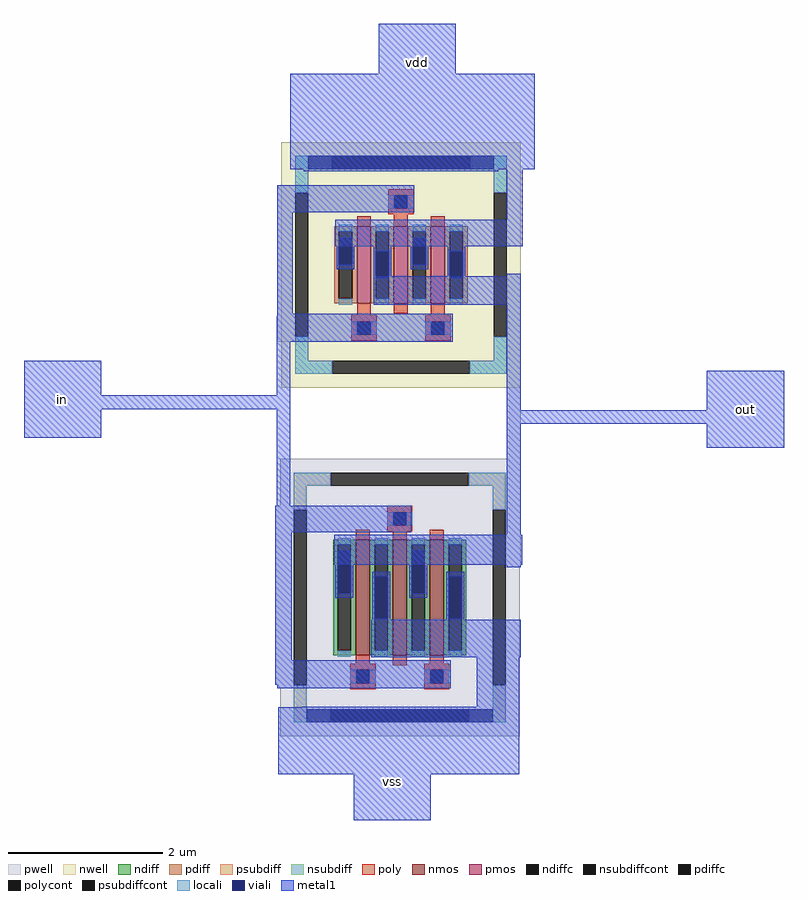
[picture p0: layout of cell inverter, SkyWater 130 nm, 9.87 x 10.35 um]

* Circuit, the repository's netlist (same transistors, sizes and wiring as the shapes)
.subckt inverter in vss vdd out
*.PININFO in:I vss:B vdd:B out:O
XM1 out in vss vss sky130_fd_pr__nfet_01v8 L=0.18 W=4.5 nf=3 ad='int((nf+1)/2) * W/nf * 0.29' as='int((nf+2)/2) * W/nf * 0.29'
+ pd='2*int((nf+1)/2) * (W/nf + 0.29)' ps='2*int((nf+2)/2) * (W/nf + 0.29)' nrd='0.29 / W' nrs='0.29 / W'
+ sa=0 sb=0 sd=0 mult=1 m=1 
XM2 out in vdd vdd sky130_fd_pr__pfet_01v8 L=0.18 W=3 nf=3 ad='int((nf+1)/2) * W/nf * 0.29' as='int((nf+2)/2) * W/nf * 0.29'
+ pd='2*int((nf+1)/2) * (W/nf + 0.29)' ps='2*int((nf+2)/2) * (W/nf + 0.29)' nrd='0.29 / W' nrs='0.29 / W'
+ sa=0 sb=0 sd=0 mult=1 m=1 
.ends
** flattened .save nodes
.end

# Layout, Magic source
magic
tech sky130A
magscale 1 2
<< pwell >>
rect -60 1908 296 1978
rect -60 1644 -20 1908
rect -60 1574 396 1644
rect -58 1572 396 1574
rect -66 1076 288 1146
rect -66 744 -22 1076
rect 536 986 572 1748
rect -66 680 390 744
rect -60 672 390 680
<< metal1 >>
rect 204 2268 404 2398
rect -26 2020 608 2268
rect -60 1908 296 1978
rect -60 1644 -20 1908
rect 536 1888 578 2020
rect 90 1820 578 1888
rect 536 1742 572 1748
rect 190 1668 572 1742
rect -60 1638 396 1644
rect -62 1572 396 1638
rect -718 1432 -518 1522
rect -62 1432 -26 1572
rect -718 1396 -26 1432
rect -718 1322 -518 1396
rect -62 1146 -26 1396
rect 536 1394 572 1668
rect 1056 1394 1256 1496
rect 536 1358 1256 1394
rect -66 1076 288 1146
rect -66 744 -22 1076
rect 536 1070 572 1358
rect 1056 1296 1256 1358
rect 88 992 576 1070
rect 536 986 572 992
rect 184 752 572 850
rect -66 680 390 744
rect -60 672 390 680
rect 458 622 568 752
rect -58 448 568 622
rect 138 328 338 448
use sky130_fd_pr__pfet_01v8_6LLYWG  XM2
transform 1 0 261 0 1 1771
box -311 -319 311 319
use sky130_fd_pr__nfet_01v8_RV7F6E  XM1
transform 1 0 258 0 1 907
box -311 -360 311 360
<< labels >>
flabel metal1 -718 1322 -518 1522 0 FreeSans 256 0 0 0 in
port 0 nsew
flabel metal1 1056 1296 1256 1496 0 FreeSans 256 0 0 0 out
port 3 nsew
flabel metal1 204 2198 404 2398 0 FreeSans 256 0 0 0 vdd
port 2 nsew
flabel metal1 138 328 338 528 0 FreeSans 256 0 0 0 vss
port 1 nsew
<< end >>

# cell sky130_fd_pr__pfet_01v8_6LLYWG: kit device sky130_fd_pr__pfet_01v8, w 1.0 l 0.18 m 1 nf 3 diffcov 100 polycov 100 guard 1 glc 1 grc 1 gtc 1 gbc 1 tbcov 100 rlcov 100 topc 1 botc 1 poverlap 0 doverlap 1 lmin 0.15 wmin 0.42 compatible {sky130_fd_pr__pfet_01v8 sky130_fd_pr__pfet_01v8_lvt sky130_fd_pr__pfet_01v8_hvt sky130_fd_pr__pfet_g5v0d10v5} full_metal 1 viasrc 40 viadrn -40 viagate 100 viagb 0 viagr 0 viagl 0 viagt 100

# cell sky130_fd_pr__nfet_01v8_RV7F6E: kit device sky130_fd_pr__nfet_01v8, w 1.5 l 0.18 m 1 nf 3 diffcov 100 polycov 100 guard 1 glc 1 grc 1 gtc 1 gbc 1 tbcov 100 rlcov 100 topc 1 botc 1 poverlap 0 doverlap 1 lmin 0.15 wmin 0.42 compatible {sky130_fd_pr__nfet_01v8 sky130_fd_pr__nfet_01v8_lvt sky130_fd_bs_flash__special_sonosfet_star sky130_fd_pr__nfet_g5v0d10v5 sky130_fd_pr__nfet_05v0_nvt sky130_fd_pr__nfet_03v3_nvt} full_metal 1 viasrc 40 viadrn -40 viagate 100 viagb 100 viagr 0 viagl 0 viagt 0
